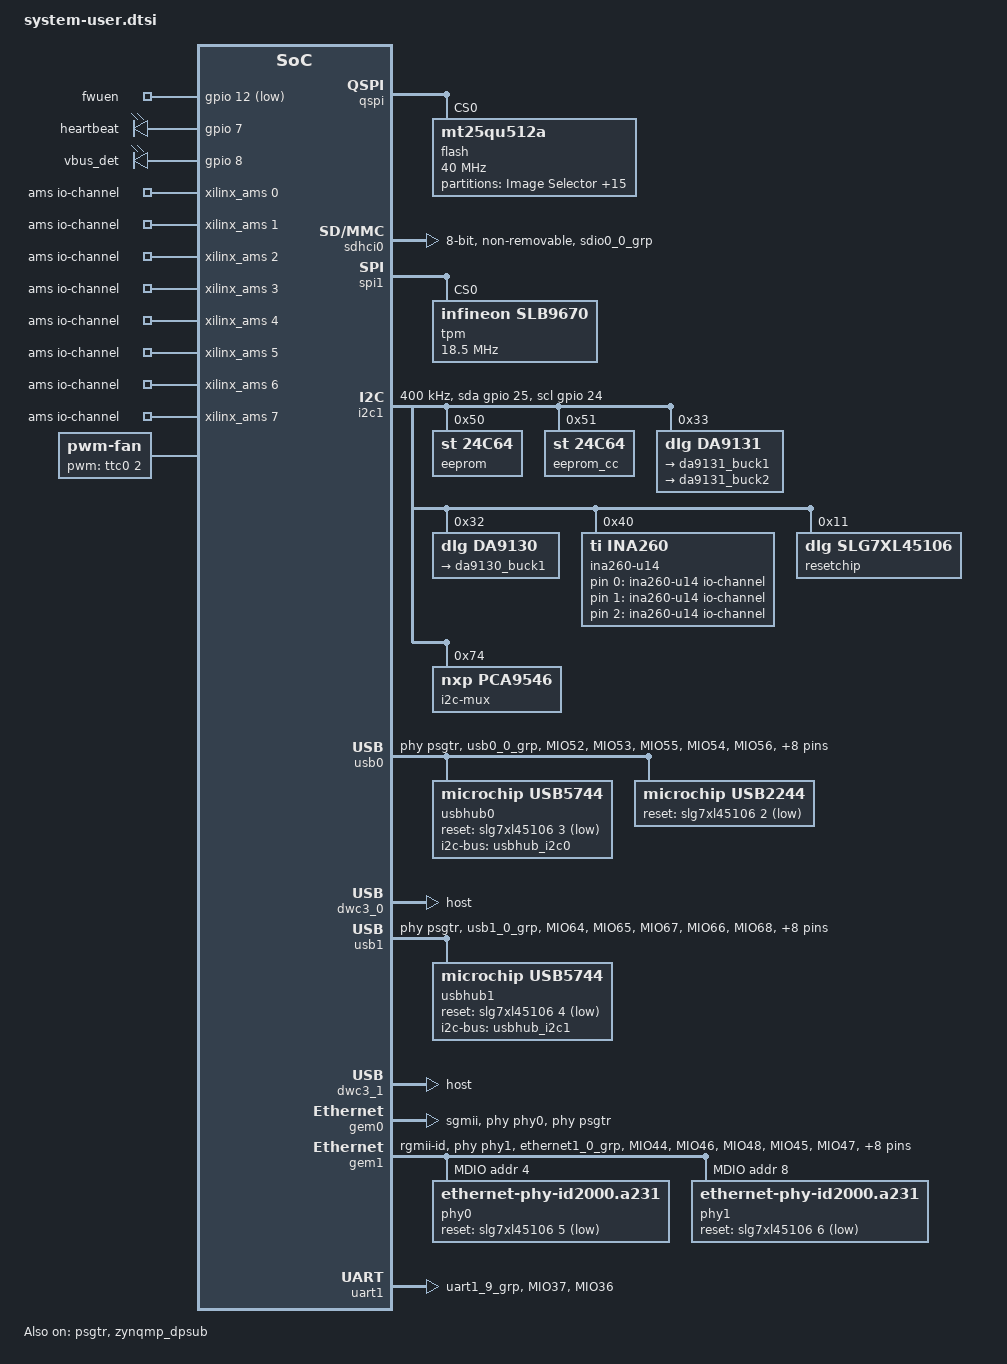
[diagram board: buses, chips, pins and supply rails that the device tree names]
#include "include/dt-bindings/input/input.h"
#include "include/dt-bindings/gpio/gpio.h"
#include "include/dt-bindings/phy/phy.h"
#include "include/dt-bindings/pinctrl/pinctrl-zynqmp.h"
#include <dt-bindings/net/ti-dp83867.h>

/ {
	chosen {
		bootargs = " earlycon console=ttyPS0,115200 clk_ignore_unused root=/dev/ram0 rw init_fatal_sh=1 cma=900M ";
		stdout-path = "serial1:115200n8";
	};

	gpio-keys {
		compatible = "gpio-keys";
		autorepeat;
		fwuen {
			label = "fwuen";
			gpios = <&gpio 12 GPIO_ACTIVE_LOW>;
		};
	};

	leds {
		compatible = "gpio-leds";
		ds35-led {
			label = "heartbeat";
			gpios = <&gpio 7 GPIO_ACTIVE_HIGH>;
			linux,default-trigger = "heartbeat";
		};

		ds36-led {
			label = "vbus_det";
			gpios = <&gpio 8 GPIO_ACTIVE_HIGH>;
			default-state = "on";
		};
	};

	ams {
		compatible = "iio-hwmon";
		io-channels = <&xilinx_ams 0>, <&xilinx_ams 1>, <&xilinx_ams 2>,
			<&xilinx_ams 3>, <&xilinx_ams 4>, <&xilinx_ams 5>,
			<&xilinx_ams 6>, <&xilinx_ams 7>, <&xilinx_ams 8>,
			<&xilinx_ams 9>, <&xilinx_ams 10>, <&xilinx_ams 11>,
			<&xilinx_ams 12>, <&xilinx_ams 13>, <&xilinx_ams 14>,
			<&xilinx_ams 15>, <&xilinx_ams 16>, <&xilinx_ams 17>,
			<&xilinx_ams 18>, <&xilinx_ams 19>, <&xilinx_ams 20>,
			<&xilinx_ams 21>, <&xilinx_ams 22>, <&xilinx_ams 23>,
			<&xilinx_ams 24>, <&xilinx_ams 25>, <&xilinx_ams 26>,
			<&xilinx_ams 27>, <&xilinx_ams 28>, <&xilinx_ams 29>;
	};
	pwm-fan {
		compatible = "pwm-fan";
		pwms = <&ttc0 2 40000 0>;
	};
};

&modepin_gpio {
	label = "modepin";
};

&ttc0 {
	#pwm-cells = <3>;
};

&pinctrl0 {
        status = "okay";
        pinctrl_sdhci0_default: sdhci0-default {
                conf {
                        groups = "sdio0_0_grp";
                        slew-rate = <SLEW_RATE_SLOW>;
                        power-source = <IO_STANDARD_LVCMOS18>;
                        bias-disable;
                };

                mux {
                        groups = "sdio0_0_grp";
                        function = "sdio0";
                };
        };
};

&qspi { /* MIO 0-5 - U143 */
	flash@0 { /* MT25QU512A */
		compatible = "mt25qu512a", "jedec,spi-nor"; /* 64MB */
		#address-cells = <1>;
		#size-cells = <1>;
		reg = <0>;
		spi-tx-bus-width = <4>;
		spi-rx-bus-width = <4>;
		spi-max-frequency = <40000000>; /* 40MHz */
		partition@0 {
			label = "Image Selector";
			reg = <0x0 0x80000>; /* 512KB */
			read-only;
			lock;
		};
		partition@80000 {
			label = "Image Selector Golden";
			reg = <0x80000 0x80000>; /* 512KB */
			read-only;
			lock;
		};
		partition@100000 {
			label = "Persistent Register";
			reg = <0x100000 0x20000>; /* 128KB */
		};
		partition@120000 {
			label = "Persistent Register Backup";
			reg = <0x120000 0x20000>; /* 128KB */
		};
		partition@140000 {
			label = "Open_1";
			reg = <0x140000 0xC0000>; /* 768KB */
		};
		partition@200000 {
			label = "Image A (FSBL, PMU, ATF, U-Boot)";
			reg = <0x200000 0xD00000>; /* 13MB */
		};
		partition@f00000 {
			label = "ImgSel Image A Catch";
			reg = <0xF00000 0x80000>; /* 512KB */
			read-only;
			lock;
		};
		partition@f80000 {
			label = "Image B (FSBL, PMU, ATF, U-Boot)";
			reg = <0xF80000 0xD00000>; /* 13MB */
		};
		partition@1c80000 {
			label = "ImgSel Image B Catch";
			reg = <0x1C80000 0x80000>; /* 512KB */
			read-only;
			lock;
		};
		partition@1d00000 {
			label = "Open_2";
			reg = <0x1D00000 0x100000>; /* 1MB */
		};
		partition@1e00000 {
			label = "Recovery Image";
			reg = <0x1E00000 0x200000>; /* 2MB */
			read-only;
			lock;
		};
		partition@2000000 {
			label = "Recovery Image Backup";
			reg = <0x2000000 0x200000>; /* 2MB */
			read-only;
			lock;
		};
		partition@2200000 {
			label = "U-Boot storage variables";
			reg = <0x2200000 0x20000>; /* 128KB */
		};
		partition@2220000 {
			label = "U-Boot storage variables backup";
			reg = <0x2220000 0x20000>; /* 128KB */
		};
		partition@2240000 {
			label = "SHA256";
			reg = <0x2240000 0x10000>; /* 256B but 64KB sector */
			read-only;
			lock;
		};
		partition@2250000 {
			label = "User";
			reg = <0x2250000 0x1db0000>; /* 29.5 MB */

		};
	};
};

&sdhci0 { /* MIO13-23 - 16GB emmc MTFC16GAPALBH-IT - U133A*/
	pinctrl-names = "default";
	pinctrl-0 = <&pinctrl_sdhci0_default>;
	non-removable;
	disable-wp;
	bus-width = <8>;
	xlnx,mio-bank = <0>;
	assigned-clock-rates = <187498123>;
};

&spi1 { /* MIO6, 9-11 */
	label = "TPM";
	num-cs = <1>;
	tpm@0 { /* slm9670 - U144 */
		compatible = "infineon,slb9670", "tcg,tpm_tis-spi";
		reg = <0>;
		spi-max-frequency = <18500000>;
	};
};

&i2c1 {
	u-boot,dm-pre-reloc;
	clock-frequency = <400000>;
	scl-gpios = <&gpio 24 GPIO_ACTIVE_HIGH>;
	sda-gpios = <&gpio 25 GPIO_ACTIVE_HIGH>;

	eeprom: eeprom@50 { /* u46 - also at address 0x58 */
		u-boot,dm-pre-reloc;
		compatible = "st,24c64", "atmel,24c64"; /* st m24c64 */
		reg = <0x50>;
		/* WP pin EE_WP_EN connected to slg7x644092@68 */
	};

	eeprom_cc: eeprom@51 { /* required by spec - also at address 0x59 */
		u-boot,dm-pre-reloc;
		compatible = "st,24c64", "atmel,24c64"; /* st m24c64 */
		reg = <0x51>;
	};

	/* da9062@30 - u170 - also at address 0x31 */
	/* da9131@33 - u167 */
	da9131: pmic@33 {
		compatible = "dlg,da9131";
		reg = <0x33>;
		regulators {
			da9131_buck1: buck1 {
				regulator-name = "da9131_buck1";
				regulator-boot-on;
				regulator-always-on;
			};
			da9131_buck2: buck2 {
				regulator-name = "da9131_buck2";
				regulator-boot-on;
				regulator-always-on;
			};
		};
	};

	/* da9130@32 - u166 */
	da9130: pmic@32 {
		compatible = "dlg,da9130";
		reg = <0x32>;
		regulators {
			da9130_buck1: buck1 {
				regulator-name = "da9130_buck1";
				regulator-boot-on;
				regulator-always-on;
			};
		};
	};

	/* slg7x644091@70 - u168 NOT accessible due to address conflict with stdp4320 */
	/*
	 * stdp4320 - u27 FW has below two issues to be fixed in next board revision.
	 * Device acknowledging to addresses 0x5C, 0x5D, 0x70, 0x72, 0x76.
	 * Address conflict with slg7x644091@70 making both the devices NOT accessible.
	 * With the FW fix, stdp4320 should respond to address 0x73 only.
	 */
	/* slg7x644092@68 - u169 */

	/* Also connected via JA1C as C23/C24 */
	u14: ina260@40 { /* u14 */
		compatible = "ti,ina260";
		#io-channel-cells = <1>;
		label = "ina260-u14";
		reg = <0x40>;
	};

	slg7xl45106: gpio@11 { /* u19 - reset logic */
		compatible = "dlg,slg7xl45106";
		reg = <0x11>;
		label = "resetchip";
		gpio-controller;
		#gpio-cells = <2>;
		gpio-line-names = "USB0_PHY_RESET_B", "USB1_PHY_RESET_B",
				  "SD_RESET_B", "USB0_HUB_RESET_B",
				  "USB1_HUB_RESET_B", "PS_GEM0_RESET_B",
				  "PS_GEM1_RESET_B", "";
	};

	i2c-mux@74 { /* u18 */
		compatible = "nxp,pca9546";
		#address-cells = <1>;
		#size-cells = <0>;
		reg = <0x74>;
		usbhub_i2c0: i2c@0 {
			#address-cells = <1>;
			#size-cells = <0>;
			reg = <0>;
		};
		usbhub_i2c1: i2c@1 {
			#address-cells = <1>;
			#size-cells = <0>;
			reg = <1>;
		};
		/* Bus 2/3 are not connected */
	};

	/* si5332@6a - u17 - clock-generator */
};

&gpio {
	gpio-line-names = "QSPI_CLK", "QSPI_DQ1", "QSPI_DQ2", "QSPI_DQ3", "QSPI_DQ0", /* 0 - 4 */
			  "QSPI_CS_B", "SPI_CLK", "LED1", "LED2", "SPI_CS_B", /* 5 - 9 */
			  "SPI_MISO", "SPI_MOSI", "FWUEN", "EMMC_DAT0", "EMMC_DAT1", /* 10 - 14 */
			  "EMMC_DAT2", "EMMC_DAT3", "EMMC_DAT4", "EMMC_DAT5", "EMMC_DAT6", /* 15 - 19 */
			  "EMMC_DAT7", "EMMC_CMD", "EMMC_CLK", "EMMC_RST", "I2C1_SCL", /* 20 - 24 */
			  "I2C1_SDA", "", "", "", "", /* 25 - 29 */
			  "", "", "", "", "", /* 30 - 34 */
			  "", "", "", "", "", /* 35 - 39 */
			  "", "", "", "", "", /* 40 - 44 */
			  "", "", "", "", "", /* 45 - 49 */
			  "", "", "", "", "", /* 50 - 54 */
			  "", "", "", "", "", /* 55 - 59 */
			  "", "", "", "", "", /* 60 - 64 */
			  "", "", "", "", "", /* 65 - 69 */
			  "", "", "", "", "", /* 70 - 74 */
			  "", "", "", /* 75 - 77, MIO end and EMIO start */
			  "", "", /* 78 - 79 */
			  "", "", "", "", "", /* 80 - 84 */
			  "", "", "", "", "", /* 85 - 89 */
			  "", "", "", "", "", /* 90 - 94 */
			  "", "", "", "", "", /* 95 - 99 */
			  "", "", "", "", "", /* 100 - 104 */
			  "", "", "", "", "", /* 105 - 109 */
			  "", "", "", "", "", /* 110 - 114 */
			  "", "", "", "", "", /* 115 - 119 */
			  "", "", "", "", "", /* 120 - 124 */
			  "", "", "", "", "", /* 125 - 129 */
			  "", "", "", "", "", /* 130 - 134 */
			  "", "", "", "", "", /* 135 - 139 */
			  "", "", "", "", "", /* 140 - 144 */
			  "", "", "", "", "", /* 145 - 149 */
			  "", "", "", "", "", /* 150 - 154 */
			  "", "", "", "", "", /* 155 - 159 */
			  "", "", "", "", "", /* 160 - 164 */
			  "", "", "", "", "", /* 165 - 169 */
			  "", "", "", ""; /* 170 - 174 */
};

&{/} {
	compatible = "xlnx,zynqmp-sk-kr260-revB",
		     "xlnx,zynqmp-sk-kr260", "xlnx,zynqmp";

	ina260-u14 {
		compatible = "iio-hwmon";
		io-channels = <&u14 0>, <&u14 1>, <&u14 2>;
	};

	clk_125: clock0 { /* u87 - GEM0/1 */
		compatible = "fixed-clock";
		#clock-cells = <0>;
		clock-frequency = <125000000>;
	};

	clk_27: clock1 { /* u86 - DP */
		compatible = "fixed-clock";
		#clock-cells = <0>;
		clock-frequency = <27000000>;
	};

	clk_26: clock2 { /* u89 - USB */
		compatible = "fixed-clock";
		#clock-cells = <0>;
		clock-frequency = <26000000>;
	};

	clk_156: clock3 { /* u90 - SFP+ */
		compatible = "fixed-clock";
		#clock-cells = <0>;
		clock-frequency = <156250000>;
	};

	clk_25_0: clock4 { /* u92/u91 - GEM2 */
		compatible = "fixed-clock";
		#clock-cells = <0>;
		clock-frequency = <25000000>;
	};

	clk_25_1: clock5 { /* u92/u91 - GEM3 */
		compatible = "fixed-clock";
		#clock-cells = <0>;
		clock-frequency = <25000000>;
	};
};

/* GEM SGMII/DP and USB 3.0 */
&psgtr {
	status = "okay";
	/* gem0/1, dp, usb */
	clocks = <&clk_125>, <&clk_27>, <&clk_26>;
	clock-names = "ref0", "ref1", "ref2";
};

&zynqmp_dpsub {
	status = "okay";
	phy-names = "dp-phy0";
	phys = <&psgtr 1 PHY_TYPE_DP 0 1>;
	assigned-clock-rates = <27000000>, <25000000>, <300000000>;
};

&zynqmp_dpdma {
	status = "okay";
	assigned-clock-rates = <600000000>;
};

&usb0 { /* mio52 - mio63 */
	status = "okay";
	pinctrl-names = "default";
	pinctrl-0 = <&pinctrl_usb0_default>;
	phy-names = "usb3-phy";
	phys = <&psgtr 2 PHY_TYPE_USB3 0 2>;
	reset-gpios = <&slg7xl45106 0 GPIO_ACTIVE_LOW>;
	assigned-clock-rates = <250000000>, <20000000>;

	usbhub0: usb-hub { /* u43 */
		i2c-bus = <&usbhub_i2c0>;
		compatible = "microchip,usb5744";
		reset-gpios = <&slg7xl45106 3 GPIO_ACTIVE_LOW>;
	};

	usb2244: usb-sd { /* u38 */
		compatible = "microchip,usb2244";
		reset-gpios = <&slg7xl45106 2 GPIO_ACTIVE_LOW>;
	};
};

&dwc3_0 {
	status = "okay";
	dr_mode = "host";
	snps,usb3_lpm_capable;
	maximum-speed = "super-speed";
};

&usb1 { /* mio64 - mio75 */
	status = "okay";
	pinctrl-names = "default";
	pinctrl-0 = <&pinctrl_usb1_default>;
	phy-names = "usb3-phy";
	phys = <&psgtr 3 PHY_TYPE_USB3 1 2>;
	reset-gpios = <&slg7xl45106 1 GPIO_ACTIVE_LOW>;
	assigned-clock-rates = <250000000>, <20000000>;

	usbhub1: usb-hub { /* u84 */
		i2c-bus = <&usbhub_i2c1>;
		compatible = "microchip,usb5744";
		reset-gpios = <&slg7xl45106 4 GPIO_ACTIVE_LOW>;
	};
};

&dwc3_1 {
	status = "okay";
	dr_mode = "host";
	snps,usb3_lpm_capable;
	maximum-speed = "super-speed";
};

&gem0 { /* mdio mio50/51 */
	status = "okay";
	phys = <&psgtr 0 PHY_TYPE_SGMII 0 0>;
	phy-handle = <&phy0>;
	phy-mode = "sgmii";
	is-internal-pcspma;
};

&gem1 { /* mdio mio50/51, gem mio38 - mio49 */
	status = "okay";
	pinctrl-names = "default";
	pinctrl-0 = <&pinctrl_gem1_default>;
	phy-handle = <&phy1>;
	phy-mode = "rgmii-id";

	mdio: mdio {
		#address-cells = <1>;
		#size-cells = <0>;
		phy0: ethernet-phy@4 { /* u81 */
			#phy-cells = <1>;
			compatible = "ethernet-phy-id2000.a231";
			reg = <4>;
			ti,rx-internal-delay = <DP83867_RGMIIDCTL_2_25_NS>;
			ti,tx-internal-delay = <DP83867_RGMIIDCTL_2_75_NS>;
			ti,fifo-depth = <DP83867_PHYCR_FIFO_DEPTH_4_B_NIB>;
			ti,dp83867-rxctrl-strap-quirk;
			reset-assert-us = <100>;
			reset-deassert-us = <280>;
			reset-gpios = <&slg7xl45106 5 GPIO_ACTIVE_LOW>;
		};
		phy1: ethernet-phy@8 { /* u36 */
			#phy-cells = <1>;
			compatible = "ethernet-phy-id2000.a231";
			reg = <8>;
			ti,rx-internal-delay = <DP83867_RGMIIDCTL_2_25_NS>;
			ti,tx-internal-delay = <DP83867_RGMIIDCTL_2_75_NS>;
			ti,fifo-depth = <DP83867_PHYCR_FIFO_DEPTH_4_B_NIB>;
			ti,dp83867-rxctrl-strap-quirk;
			reset-assert-us = <100>;
			reset-deassert-us = <280>;
			reset-gpios = <&slg7xl45106 6 GPIO_ACTIVE_LOW>;
		};
	};
};

/* gem2/gem3 via PL with phys u79@2 and u80@3 */

&pinctrl0 { /* required by spec */
	status = "okay";

	pinctrl_uart1_default: uart1-default {
		conf {
			groups = "uart1_9_grp";
			slew-rate = <SLEW_RATE_SLOW>;
			power-source = <IO_STANDARD_LVCMOS18>;
			drive-strength = <12>;
		};

		conf-rx {
			pins = "MIO37";
			bias-high-impedance;
		};

		conf-tx {
			pins = "MIO36";
			bias-disable;
		};

		mux {
			groups = "uart1_9_grp";
			function = "uart1";
		};
	};

	pinctrl_i2c1_default: i2c1-default {
		conf {
			groups = "i2c1_6_grp";
			bias-pull-up;
			slew-rate = <SLEW_RATE_SLOW>;
			power-source = <IO_STANDARD_LVCMOS18>;
		};

		mux {
			groups = "i2c1_6_grp";
			function = "i2c1";
		};
	};

	pinctrl_i2c1_gpio: i2c1-gpio {
		conf {
			groups = "gpio0_24_grp", "gpio0_25_grp";
			slew-rate = <SLEW_RATE_SLOW>;
			power-source = <IO_STANDARD_LVCMOS18>;
		};

		mux {
			groups = "gpio0_24_grp", "gpio0_25_grp";
			function = "gpio0";
		};
	};

	pinctrl_gem1_default: gem1-default {
		conf {
			groups = "ethernet1_0_grp";
			slew-rate = <SLEW_RATE_SLOW>;
			power-source = <IO_STANDARD_LVCMOS18>;
		};

		conf-rx {
			pins = "MIO44", "MIO46", "MIO48";
			bias-high-impedance;
			low-power-disable;
		};

		conf-bootstrap {
			pins = "MIO45", "MIO47", "MIO49";
			bias-disable;
			low-power-disable;
		};

		conf-tx {
			pins = "MIO38", "MIO39", "MIO40",
				"MIO41", "MIO42", "MIO43";
			bias-disable;
			low-power-enable;
		};

		conf-mdio {
			groups = "mdio1_0_grp";
			slew-rate = <SLEW_RATE_SLOW>;
			power-source = <IO_STANDARD_LVCMOS18>;
			bias-disable;
		};

		mux-mdio {
			function = "mdio1";
			groups = "mdio1_0_grp";
		};

		mux {
			function = "ethernet1";
			groups = "ethernet1_0_grp";
		};
	};

	pinctrl_usb0_default: usb0-default {
		conf {
			groups = "usb0_0_grp";
			slew-rate = <SLEW_RATE_SLOW>;
			power-source = <IO_STANDARD_LVCMOS18>;
		};

		conf-rx {
			pins = "MIO52", "MIO53", "MIO55";
			bias-high-impedance;
		};

		conf-tx {
			pins = "MIO54", "MIO56", "MIO57", "MIO58", "MIO59",
			"MIO60", "MIO61", "MIO62", "MIO63";
			bias-disable;
		};

		mux {
			groups = "usb0_0_grp";
			function = "usb0";
		};
	};

	pinctrl_usb1_default: usb1-default {
		conf {
			groups = "usb1_0_grp";
			slew-rate = <SLEW_RATE_SLOW>;
			power-source = <IO_STANDARD_LVCMOS18>;
		};

		conf-rx {
			pins = "MIO64", "MIO65", "MIO67";
			bias-high-impedance;
		};

		conf-tx {
			pins = "MIO66", "MIO68", "MIO69", "MIO70", "MIO71",
			"MIO72", "MIO73", "MIO74", "MIO75";
			bias-disable;
		};

		mux {
			groups = "usb1_0_grp";
			function = "usb1";
		};
	};
};

&uart1 {
	status = "okay";
	pinctrl-names = "default";
	pinctrl-0 = <&pinctrl_uart1_default>;
};

/ {
	axi_stream_dma_0@b0000000 {
		compatible = "axi_stream_dma";
		reg = <0x0 0xb0000000 0x0 0x10000>;
		interrupts = <0 89 4>;
		interrupt-parent = <&gic>;
	};
};
